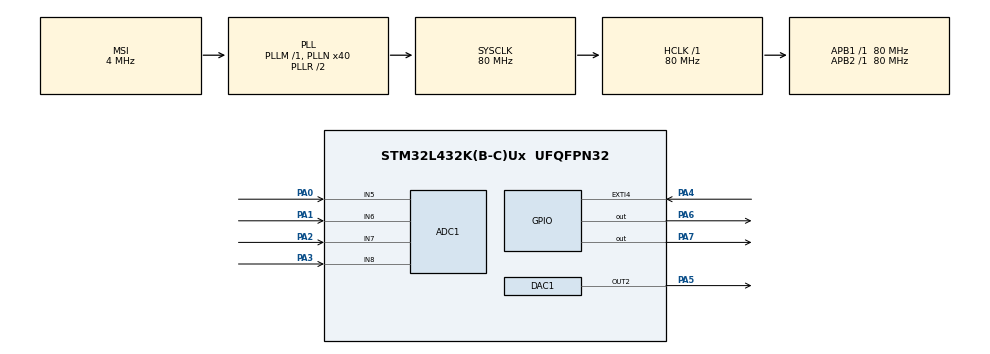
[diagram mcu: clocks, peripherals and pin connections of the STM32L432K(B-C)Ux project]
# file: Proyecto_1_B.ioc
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ADC1.Channel-1\#ChannelRegularConversion=ADC_CHANNEL_5
ADC1.Channel-3\#ChannelRegularConversion=ADC_CHANNEL_6
ADC1.Channel-4\#ChannelRegularConversion=ADC_CHANNEL_7
ADC1.Channel-5\#ChannelRegularConversion=ADC_CHANNEL_8
ADC1.EOCSelection=ADC_EOC_SEQ_CONV
ADC1.NbrOfConversion=4
ADC1.NbrOfConversionFlag=1
ADC1.OffsetNumber-3\#ChannelRegularConversion=ADC_OFFSET_NONE
ADC1.OffsetNumber-4\#ChannelRegularConversion=ADC_OFFSET_NONE
ADC1.OffsetNumber-5\#ChannelRegularConversion=ADC_OFFSET_NONE
ADC1.Rank-3\#ChannelRegularConversion=2
ADC1.Rank-4\#ChannelRegularConversion=3
ADC1.Rank-5\#ChannelRegularConversion=4
ADC1.SamplingTime-3\#ChannelRegularConversion=ADC_SAMPLETIME_2CYCLES_5
ADC1.SamplingTime-4\#ChannelRegularConversion=ADC_SAMPLETIME_2CYCLES_5
ADC1.SamplingTime-5\#ChannelRegularConversion=ADC_SAMPLETIME_2CYCLES_5
ADC1.master=1
DAC1.DAC_Channel-DAC_OUT2=DAC_CHANNEL_2
Dma.ADC1.0.Direction=DMA_PERIPH_TO_MEMORY
Dma.ADC1.0.Instance=DMA1_Channel1
Dma.ADC1.0.MemDataAlignment=DMA_MDATAALIGN_HALFWORD
Dma.ADC1.0.MemInc=DMA_MINC_ENABLE
Dma.ADC1.0.Mode=DMA_CIRCULAR
Dma.ADC1.0.PeriphDataAlignment=DMA_PDATAALIGN_HALFWORD
Dma.ADC1.0.PeriphInc=DMA_PINC_DISABLE
Dma.ADC1.0.Priority=DMA_PRIORITY_LOW
Dma.Request0=ADC1
Mcu.Family=STM32L4
Mcu.Name=STM32L432K(B-C)Ux
Mcu.Package=UFQFPN32
NVIC.DMA1_Channel1_IRQn=true\:0\:0\:false\:false\:true\:false\:true\:true
NVIC.EXTI4_IRQn=true\:1\:0\:true\:false\:true\:true\:true\:true
NVIC.PriorityGroup=NVIC_PRIORITYGROUP_4
NVIC.TIM1_UP_TIM16_IRQn=true\:0\:0\:false\:false\:true\:true\:true\:true
PA0.Signal=ADCx_IN5
PA1.Signal=ADCx_IN6
PA2.Signal=ADCx_IN7
PA3.Signal=ADCx_IN8
PA4.GPIO_ModeDefaultEXTI=GPIO_MODE_IT_RISING_FALLING
PA4.GPIO_PuPd=GPIO_PULLDOWN
PA4.Signal=GPXTI4
PA5.Signal=COMP_DAC12_group
PA6.Signal=GPIO_Output
PA7.Signal=GPIO_Output
ProjectManager.HeapSize=0x200
ProjectManager.StackSize=0x400
ProjectManager.TargetToolchain=STM32CubeIDE
RCC.ADCFreq_Value=32000000
RCC.AHBFreq_Value=80000000
RCC.APB1Freq_Value=80000000
RCC.APB1TimFreq_Value=80000000
RCC.APB2Freq_Value=80000000
RCC.APB2TimFreq_Value=80000000
RCC.CortexFreq_Value=80000000
RCC.HCLKFreq_Value=80000000
RCC.HSE_VALUE=8000000
RCC.HSI48_VALUE=48000000
RCC.HSI_VALUE=16000000
RCC.LSE_VALUE=32768
RCC.MSI_VALUE=4000000
RCC.PLLN=40
RCC.PLLSAI1N=16
RCC.SYSCLKFreq_VALUE=80000000
RCC.SYSCLKSource=RCC_SYSCLKSOURCE_PLLCLK
RCC.USBFreq_Value=32000000
RCC.VCOOutputFreq_Value=160000000
SH.ADCx_IN5.0=ADC1_IN5,IN5-Single-Ended
SH.ADCx_IN6.0=ADC1_IN6,IN6-Single-Ended
SH.ADCx_IN7.0=ADC1_IN7,IN7-Single-Ended
SH.ADCx_IN8.0=ADC1_IN8,IN8-Single-Ended
SH.COMP_DAC12_group.0=DAC1_OUT2,DAC_OUT2
TIM1.Period=2000-1
TIM1.Prescaler=80-1
VP_TIM1_VS_ClockSourceINT.Mode=Internal
board=custom

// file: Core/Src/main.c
/* USER CODE BEGIN Header */
/**
  ******************************************************************************
  * @file           : main.c
  * @brief          : Main program body
  ******************************************************************************
  * @attention
  *
  * Copyright (c) 2024 STMicroelectronics.
  * All rights reserved.
  *
  * This software is licensed under terms that can be found in the LICENSE file
  * in the root directory of this software component.
  * If no LICENSE file comes with this software, it is provided AS-IS.
  *
  ******************************************************************************
  */
/* USER CODE END Header */
#include "main.h"

/* USER CODE BEGIN PTD */

typedef enum
{
	attack,
	decay,
	sustain,
	release,
	off
}etapas_t;

/* USER CODE END PTD */

ADC_HandleTypeDef hadc1;
DMA_HandleTypeDef hdma_adc1;

DAC_HandleTypeDef hdac1;

TIM_HandleTypeDef htim1;

/* USER CODE BEGIN PV */

float t_a = 0;
float t_d = 0;
float v_s = 0;
float t_r = 0;
uint16_t adcValues[4];

etapas_t etapas = off;

float b_a = 0;
float b_d = 0;
float b_r = 0;

int Gate = 0;

float x = 0;
float y = 0;

float env = 0;
int flag = 0;
float pendiente_d = 0;

/* USER CODE END PV */

void SystemClock_Config(void);
static void MX_GPIO_Init(void);
static void MX_DMA_Init(void);
static void MX_ADC1_Init(void);
static void MX_DAC1_Init(void);
static void MX_TIM1_Init(void);
/* USER CODE BEGIN PFP */
float generador_rectas(float, float);
/* USER CODE END PFP */

int main(void)
{

  /* MCU Configuration--------------------------------------------------------*/

  /* Reset of all peripherals, Initializes the Flash interface and the Systick. */
  HAL_Init();

  /* Configure the system clock */
  SystemClock_Config();

  /* Initialize all configured peripherals */
  MX_GPIO_Init();
  MX_DMA_Init();
  MX_ADC1_Init();
  MX_DAC1_Init();
  MX_TIM1_Init();
  /* USER CODE BEGIN 2 */

  	HAL_DAC_Start(&hdac1, DAC_CHANNEL_2);
  	HAL_TIM_Base_Start_IT(&htim1);

  	HAL_GPIO_WritePin(GPIOA, GPIO_PIN_7, GPIO_PIN_SET);

  /* USER CODE END 2 */

  /* Infinite loop */
  while (1)
  {

    /* USER CODE BEGIN 3 */

	  switch(etapas)
	  {
	  case attack:

		  float pendiente_a = 3.3/t_a;
		  b_a = 0;

		  if(flag == 1 && Gate == 1 )
		  {
			  env = generador_rectas(pendiente_a, b_a);

			  if(env >= 3.3)
			  {
				  x=0;
				  etapas = decay;
			  }
			  else
			  {
				  HAL_DAC_SetValue(&hdac1, DAC_CHANNEL_2, DAC_ALIGN_12B_R, env*4095/3.3);
				  flag = 0;
			  }
		  }
		  if(flag == 1 && Gate == 0)
		  {
			  x=0;
			  v_s = env;
			  etapas = release;
		  }

		  break;
	  case decay:

		  float pendiente_d = (v_s - 3.3)/t_d;
		  b_d = v_s - pendiente_d * t_d;

		  if(flag == 1 && Gate == 1)
		  {
			  env = generador_rectas(pendiente_d, b_d);

			  if(env <= v_s)
			  {
				  etapas = sustain;
				  x = 0;
			  }
			  else
			  {
				  flag = 0;
				  HAL_DAC_SetValue(&hdac1, DAC_CHANNEL_2, DAC_ALIGN_12B_R, env*4095/3.3);
			  }
		  }
		  if(flag == 1 && Gate == 0)
		  {
			  x=0;
			  v_s = env;
			  etapas = release;
		  }

		  break;
	  case sustain:

		  if(flag == 1)
		  {
			  if(Gate == 0)
			  {
				  etapas = release;
				  x = 0;
			  }
			  else
			  {
				  HAL_DAC_SetValue(&hdac1, DAC_CHANNEL_2, DAC_ALIGN_12B_R, env*4095/3.3);
				  flag = 0;
			  }
		  }

		  break;
	  case release:

		  float pendiente_r = (0 - v_s)/t_r;
		  b_r = - pendiente_r * t_r;

		  if(flag == 1)
		  {
			  env = generador_rectas(pendiente_r, b_r);

			  if(env <=0)
			  {
				  etapas = off;
				  x = 0;
			  }
			  else
			  {
				  flag = 0;
				  HAL_DAC_SetValue(&hdac1, DAC_CHANNEL_2, DAC_ALIGN_12B_R, env*4095/3.3);
			  }
		  }
		  break;
	  case off:

		  if(Gate == 1)
		  {
			  etapas = attack;
			  x = 0;
		  }
		  else
		  {
			  etapas = off;
		  }

		  break;
	  }
  }
  /* USER CODE END 3 */
}

void SystemClock_Config(void)
{
  RCC_OscInitTypeDef RCC_OscInitStruct = {0};
  RCC_ClkInitTypeDef RCC_ClkInitStruct = {0};

  /** Configure the main internal regulator output voltage
  */
  if (HAL_PWREx_ControlVoltageScaling(PWR_REGULATOR_VOLTAGE_SCALE1) != HAL_OK)
  {
    Error_Handler();
  }

  /** Initializes the RCC Oscillators according to the specified parameters
  * in the RCC_OscInitTypeDef structure.
  */
  RCC_OscInitStruct.OscillatorType = RCC_OSCILLATORTYPE_MSI;
  RCC_OscInitStruct.MSIState = RCC_MSI_ON;
  RCC_OscInitStruct.MSICalibrationValue = 0;
  RCC_OscInitStruct.MSIClockRange = RCC_MSIRANGE_6;
  RCC_OscInitStruct.PLL.PLLState = RCC_PLL_ON;
  RCC_OscInitStruct.PLL.PLLSource = RCC_PLLSOURCE_MSI;
  RCC_OscInitStruct.PLL.PLLM = 1;
  RCC_OscInitStruct.PLL.PLLN = 40;
  RCC_OscInitStruct.PLL.PLLP = RCC_PLLP_DIV7;
  RCC_OscInitStruct.PLL.PLLQ = RCC_PLLQ_DIV2;
  RCC_OscInitStruct.PLL.PLLR = RCC_PLLR_DIV2;
  if (HAL_RCC_OscConfig(&RCC_OscInitStruct) != HAL_OK)
  {
    Error_Handler();
  }

  /** Initializes the CPU, AHB and APB buses clocks
  */
  RCC_ClkInitStruct.ClockType = RCC_CLOCKTYPE_HCLK|RCC_CLOCKTYPE_SYSCLK
                              |RCC_CLOCKTYPE_PCLK1|RCC_CLOCKTYPE_PCLK2;
  RCC_ClkInitStruct.SYSCLKSource = RCC_SYSCLKSOURCE_PLLCLK;
  RCC_ClkInitStruct.AHBCLKDivider = RCC_SYSCLK_DIV1;
  RCC_ClkInitStruct.APB1CLKDivider = RCC_HCLK_DIV1;
  RCC_ClkInitStruct.APB2CLKDivider = RCC_HCLK_DIV1;

  if (HAL_RCC_ClockConfig(&RCC_ClkInitStruct, FLASH_LATENCY_4) != HAL_OK)
  {
    Error_Handler();
  }
}

static void MX_ADC1_Init(void)
{

  ADC_ChannelConfTypeDef sConfig = {0};

  /** Common config
  */
  hadc1.Instance = ADC1;
  hadc1.Init.ClockPrescaler = ADC_CLOCK_ASYNC_DIV1;
  hadc1.Init.Resolution = ADC_RESOLUTION_12B;
  hadc1.Init.DataAlign = ADC_DATAALIGN_RIGHT;
  hadc1.Init.ScanConvMode = ADC_SCAN_ENABLE;
  hadc1.Init.EOCSelection = ADC_EOC_SEQ_CONV;
  hadc1.Init.LowPowerAutoWait = DISABLE;
  hadc1.Init.ContinuousConvMode = DISABLE;
  hadc1.Init.NbrOfConversion = 4;
  hadc1.Init.DiscontinuousConvMode = DISABLE;
  hadc1.Init.ExternalTrigConv = ADC_SOFTWARE_START;
  hadc1.Init.ExternalTrigConvEdge = ADC_EXTERNALTRIGCONVEDGE_NONE;
  hadc1.Init.DMAContinuousRequests = DISABLE;
  hadc1.Init.Overrun = ADC_OVR_DATA_PRESERVED;
  hadc1.Init.OversamplingMode = DISABLE;
  if (HAL_ADC_Init(&hadc1) != HAL_OK)
  {
    Error_Handler();
  }

  /** Configure Regular Channel
  */
  sConfig.Channel = ADC_CHANNEL_5;
  sConfig.Rank = ADC_REGULAR_RANK_1;
  sConfig.SamplingTime = ADC_SAMPLETIME_2CYCLES_5;
  sConfig.SingleDiff = ADC_SINGLE_ENDED;
  sConfig.OffsetNumber = ADC_OFFSET_NONE;
  sConfig.Offset = 0;
  if (HAL_ADC_ConfigChannel(&hadc1, &sConfig) != HAL_OK)
  {
    Error_Handler();
  }

  /** Configure Regular Channel
  */
  sConfig.Channel = ADC_CHANNEL_6;
  sConfig.Rank = ADC_REGULAR_RANK_2;
  if (HAL_ADC_ConfigChannel(&hadc1, &sConfig) != HAL_OK)
  {
    Error_Handler();
  }

  /** Configure Regular Channel
  */
  sConfig.Channel = ADC_CHANNEL_7;
  sConfig.Rank = ADC_REGULAR_RANK_3;
  if (HAL_ADC_ConfigChannel(&hadc1, &sConfig) != HAL_OK)
  {
    Error_Handler();
  }

  /** Configure Regular Channel
  */
  sConfig.Channel = ADC_CHANNEL_8;
  sConfig.Rank = ADC_REGULAR_RANK_4;
  if (HAL_ADC_ConfigChannel(&hadc1, &sConfig) != HAL_OK)
  {
    Error_Handler();
  }

}

static void MX_DAC1_Init(void)
{

  DAC_ChannelConfTypeDef sConfig = {0};

  /** DAC Initialization
  */
  hdac1.Instance = DAC1;
  if (HAL_DAC_Init(&hdac1) != HAL_OK)
  {
    Error_Handler();
  }

  /** DAC channel OUT2 config
  */
  sConfig.DAC_SampleAndHold = DAC_SAMPLEANDHOLD_DISABLE;
  sConfig.DAC_Trigger = DAC_TRIGGER_NONE;
  sConfig.DAC_OutputBuffer = DAC_OUTPUTBUFFER_ENABLE;
  sConfig.DAC_ConnectOnChipPeripheral = DAC_CHIPCONNECT_DISABLE;
  sConfig.DAC_UserTrimming = DAC_TRIMMING_FACTORY;
  if (HAL_DAC_ConfigChannel(&hdac1, &sConfig, DAC_CHANNEL_2) != HAL_OK)
  {
    Error_Handler();
  }

}

static void MX_TIM1_Init(void)
{

  TIM_ClockConfigTypeDef sClockSourceConfig = {0};
  TIM_MasterConfigTypeDef sMasterConfig = {0};

  htim1.Instance = TIM1;
  htim1.Init.Prescaler = 80-1;
  htim1.Init.CounterMode = TIM_COUNTERMODE_UP;
  htim1.Init.Period = 2000-1;
  htim1.Init.ClockDivision = TIM_CLOCKDIVISION_DIV1;
  htim1.Init.RepetitionCounter = 0;
  htim1.Init.AutoReloadPreload = TIM_AUTORELOAD_PRELOAD_DISABLE;
  if (HAL_TIM_Base_Init(&htim1) != HAL_OK)
  {
    Error_Handler();
  }
  sClockSourceConfig.ClockSource = TIM_CLOCKSOURCE_INTERNAL;
  if (HAL_TIM_ConfigClockSource(&htim1, &sClockSourceConfig) != HAL_OK)
  {
    Error_Handler();
  }
  sMasterConfig.MasterOutputTrigger = TIM_TRGO_RESET;
  sMasterConfig.MasterOutputTrigger2 = TIM_TRGO2_RESET;
  sMasterConfig.MasterSlaveMode = TIM_MASTERSLAVEMODE_DISABLE;
  if (HAL_TIMEx_MasterConfigSynchronization(&htim1, &sMasterConfig) != HAL_OK)
  {
    Error_Handler();
  }

}

static void MX_DMA_Init(void)
{

  /* DMA controller clock enable */
  __HAL_RCC_DMA1_CLK_ENABLE();

  /* DMA interrupt init */
  /* DMA1_Channel1_IRQn interrupt configuration */
  HAL_NVIC_SetPriority(DMA1_Channel1_IRQn, 0, 0);
  HAL_NVIC_EnableIRQ(DMA1_Channel1_IRQn);

}

static void MX_GPIO_Init(void)
{
  GPIO_InitTypeDef GPIO_InitStruct = {0};

  /* GPIO Ports Clock Enable */
  __HAL_RCC_GPIOA_CLK_ENABLE();

  /*Configure GPIO pin Output Level */
  HAL_GPIO_WritePin(GPIOA, GPIO_PIN_6|GPIO_PIN_7, GPIO_PIN_RESET);

  /*Configure GPIO pin : PA4 */
  GPIO_InitStruct.Pin = GPIO_PIN_4;
  GPIO_InitStruct.Mode = GPIO_MODE_IT_RISING_FALLING;
  GPIO_InitStruct.Pull = GPIO_PULLDOWN;
  HAL_GPIO_Init(GPIOA, &GPIO_InitStruct);

  /*Configure GPIO pins : PA6 PA7 */
  GPIO_InitStruct.Pin = GPIO_PIN_6|GPIO_PIN_7;
  GPIO_InitStruct.Mode = GPIO_MODE_OUTPUT_PP;
  GPIO_InitStruct.Pull = GPIO_NOPULL;
  GPIO_InitStruct.Speed = GPIO_SPEED_FREQ_LOW;
  HAL_GPIO_Init(GPIOA, &GPIO_InitStruct);

  /* EXTI interrupt init*/
  HAL_NVIC_SetPriority(EXTI4_IRQn, 1, 0);
  HAL_NVIC_EnableIRQ(EXTI4_IRQn);

}

/* USER CODE BEGIN 4 */

float generador_rectas(float m, float b)
{

	y = m*x+b;

	//x += 20e-6;

	return y;
}

void HAL_GPIO_EXTI_Callback(uint16_t GPIO_Pin)
{

	if (GPIO_Pin == GPIO_PIN_4)
	{
		//HAL_Delay(10);

		if(HAL_GPIO_ReadPin(GPIOA, GPIO_PIN_4) == GPIO_PIN_SET)
		{
			Gate = 1;
			HAL_GPIO_WritePin(GPIOA, GPIO_PIN_6, GPIO_PIN_SET);    //GATE (A5)
			HAL_GPIO_WritePin(GPIOA, GPIO_PIN_7, GPIO_PIN_RESET);  //TRIG (A6)
			HAL_Delay(10);
			HAL_GPIO_WritePin(GPIOA, GPIO_PIN_7, GPIO_PIN_SET);
		}
		else
		{
			Gate = 0;
			HAL_GPIO_WritePin(GPIOA, GPIO_PIN_6, GPIO_PIN_RESET);
		}

		HAL_ADC_Start_DMA(&hadc1,(uint32_t*)adcValues, 4);  // 4 canales

	}
}

void HAL_TIM_PeriodElapsedCallback(TIM_HandleTypeDef *htim)
{
    if (htim->Instance == TIM1)
    {
    	flag = 1;
        x += 0.002;
    }
}

void HAL_ADC_ConvCpltCallback(ADC_HandleTypeDef* hadc)
{
    if (hadc->Instance == ADC1)
    {
        t_a = adcValues[0]*(3.02/4095);  // attack
        if(t_a <= 0.4)
        {
        	t_a = 0.4;
        }
        t_d = adcValues[1]*(9.5/4095);  // decay
        if(t_d <= 0.4)
        {
        	t_d = 0.4;
        }
        v_s = adcValues[2]*(3.3/4095);  // sustain
        t_r = adcValues[3]*(11.0/4095);  // Release
        if(t_r <= 0.7)
        {
        	t_r = 0.7;
        }
    }
}

/* USER CODE END 4 */

void Error_Handler(void)
{
  __disable_irq();
  while (1)
  {
  }
}
